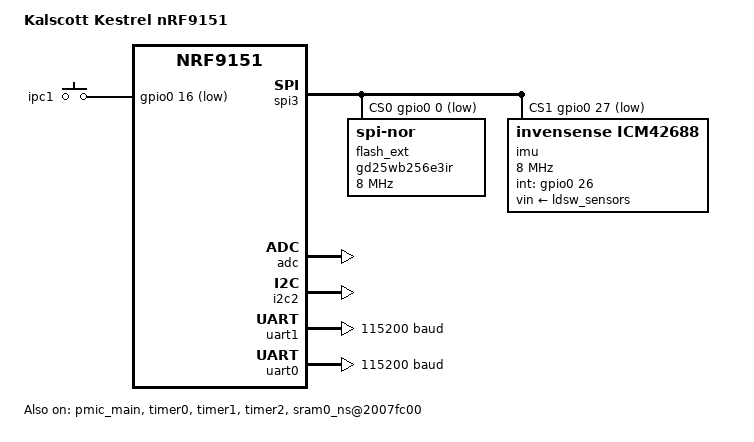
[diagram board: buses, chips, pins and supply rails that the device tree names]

#include "kestrel_nrf9151_common-pinctrl.dtsi"
#include "kestrel_common.dtsi"

&spi3 {
	compatible = "nordic,nrf-spim";
	status = "disabled";

	pinctrl-0 = <&spi3_default>;
	pinctrl-1 = <&spi3_sleep>;
	pinctrl-names = "default", "sleep";


	// flash_ext: s25fl256s@0 {
	// 	compatible = "jedec,spi-nor";
	// 	status = "disabled";
	// 	reg = <0>;
	// 	spi-max-frequency = <8000000>;
	// 	size = <268435456>;
	// 	jedec-id = [01 02 19];
	// 	use-4b-addr-opcodes;
	// };
	
	// flash_ext: GD25LE255E@0 {
	// 	compatible = "jedec,spi-nor";
	// 	status = "disabled";
	// 	reg = <0>;
	// 	spi-max-frequency = <8000000>;
	// 	size = <268435456>;
	// 	has-dpd;
	// 	t-enter-dpd = <3000>;
	// 	t-exit-dpd = <20000>;
	// 	sfdp-bfp = [e5 20 f3 ff  ff ff ff 0f  44 eb 08 6b  08 3b 42 bb
	// 		    fe ff ff ff  ff ff 00 ff  ff ff 42 eb  0c 20 0f 52
	// 		    10 d8 00 ff  d4 31 a5 fe  84 df 14 4f  ec 62 16 33
	// 		    7a 75 7a 75  04 b3 d5 5c  19 06 14 00  08 50 00 01];
	// 	jedec-id = [c8 60 19];
	// };

	// flash_ext: gd25wb256e3ir@0 {
	// 	compatible = "jedec,spi-nor";
	// 	status = "disabled";
	// 	reg = <0>;
	// 	spi-max-frequency = <8000000>;
	// 	size = <268435456>;
	// 	has-dpd;
	// 	t-enter-dpd = <3000>;
	// 	t-exit-dpd = <40000>;
	// 	sfdp-bfp = [
	// 		e5 20 f3 ff  ff ff ff 0f  44 eb 08 6b  08 3b 42 bb
	// 		ee ff ff ff  ff ff 00 ff  ff ff 00 ff  0c 20 0f 52
	// 		10 d8 00 ff  44 7a c9 fe  83 67 26 62  ec 82 18 44
	// 		7a 75 7a 75  04 c4 d5 5c  00 06 74 00  08 50 00 01
	// 		];
	// 	jedec-id = [c8 65 19];
	// };

	flash_ext: gd25wb256e3ir@0 {
		compatible = "jedec,spi-nor";
		status = "disabled";
		reg = <0>;
		spi-max-frequency = <8000000>;
		size = <268435456>;
		has-dpd;
		t-enter-dpd = <3000>;
		t-exit-dpd = <40000>;
		sfdp-bfp = [
			e5 20 f3 ff  ff ff ff 0f  44 eb 08 6b  08 3b 42 bb
			ee ff ff ff  ff ff 00 ff  ff ff 00 ff  0c 20 0f 52
			10 d8 00 ff  d6 39 a5 fe  83 1f 15 51  ec 62 16 33
			7a 75 7a 75  04 bd d5 5c  00 06 64 00  08 50 00 01
			];
		jedec-id = [c8 40 19];
	};
	
	imu: icm42688@1 {
        compatible = "invensense,icm42688";
        reg = <1>;                       
        spi-max-frequency = <8000000>;
        status = "okay";
        int-gpios = <&gpio0 26 GPIO_ACTIVE_HIGH>;
		vin-supply = <&ldsw_sensors>;

		accel-pwr-mode = <ICM42688_DT_ACCEL_LN>;
		accel-fs = <ICM42688_DT_ACCEL_FS_16>;
		accel-odr = <ICM42688_DT_ACCEL_ODR_2000>;
		gyro-pwr-mode= <ICM42688_DT_GYRO_LN>;
		gyro-fs = <ICM42688_DT_GYRO_FS_2000>;
		gyro-odr = <ICM42688_DT_GYRO_ODR_2000>;
    };

};

/ {
	model = "Kalscott Kestrel nRF9151";
	compatible = "Kalscott,kestrel-nrf9151";


	sram0_ns@2007fc00 {
		compatible = "zephyr,memory-region", "mmio-sram";
		reg = <0x2007fc00 DT_SIZE_K(1)>;
		zephyr,memory-region = "RetainedMem";
		status = "okay";

		retainedmem {
			compatible = "zephyr,retained-ram";
			status = "okay";
			#address-cells = <1>;
			#size-cells = <1>;

			boot_mode0: boot_mode@0 {
				compatible = "zephyr,retention";
				status = "okay";
				reg = <0x0 0x100>;
				prefix = [08 04];
				checksum = <1>;
			};
		};
	};

	chosen {
		zephyr,boot-mode = &boot_mode0;
		zephyr,console = &uart0;
		zephyr,shell-uart = &uart0;
		zephyr,uart-mcumgr = &uart1;
		nordic,pm-ext-flash = &flash_ext;
	};

	buttons {
		compatible = "gpio-keys";
		ipc1: button_0 {
			gpios = <&gpio0 16 (GPIO_PULL_UP | GPIO_ACTIVE_LOW)>;
		};
	};

	aliases {
		sw0 = &ipc1;                
		mcuboot-button0 = &ipc1;     
		spi-flash0 = &flash_ext;
	};
};

&adc {
	status = "okay";
};

&gpiote {
	status = "okay";
};



&gpio0 {
	status = "okay";
	sense-edge-mask = <0xffffffff>;
};


&pwm0 {
	status = "disabled";
};

&pmic_main {
	
};


&flash_ext {
	status = "okay";
};


&i2c2 {
	status = "okay";
	
};
&spi3 {
	status = "okay";
	cs-gpios =
		<&gpio0 0 GPIO_ACTIVE_LOW>,  
		<&gpio0 27 GPIO_ACTIVE_LOW>,
		<&gpio0 15 GPIO_ACTIVE_LOW>;

};

&pmic_main {
	status = "okay";
	
	npm1300_gpios {
		status = "okay";
	};
	regulators {
		status = "okay";
	};
	charger {
		status = "okay";
	};
};

&timer0 {
	status = "okay";
};

&timer1 {
	status = "okay";
};

&timer2 {
	status = "okay";
};

&uart1 {
	compatible = "nordic,nrf-uarte";
	current-speed = <115200>;
	status = "okay";
	pinctrl-0 = <&uart1_default>;
	pinctrl-1 = <&uart1_sleep>;
	pinctrl-names = "default", "sleep";
};

&uart0 {
	compatible = "nordic,nrf-uarte";
	current-speed = <115200>;
	status = "okay";
	pinctrl-0 = <&uart0_default>;
	pinctrl-1 = <&uart0_sleep>;
	pinctrl-names = "default", "sleep";
};



#include <common/nordic/nrf91xx_partition.dtsi>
